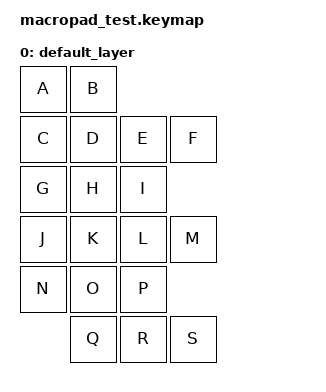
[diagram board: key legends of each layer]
#include <behaviors.dtsi>
#include <dt-bindings/zmk/keys.h>

// Each key sends a distinct letter so you can verify every position works.
// Layout (left-to-right, top-to-bottom matches physical layout):
//
//   [A] [B]
//   [C] [D] [E] [F]
//   [G] [H] [I]
//   [J] [K] [L] [M]
//   [N] [O] [P]
//       [Q] [R] [S]

/ {
    keymap {
        compatible = "zmk,keymap";

        default_layer {
            bindings = <
                &kp A   &kp B
                &kp C   &kp D   &kp E   &kp F
                &kp G   &kp H   &kp I
                &kp J   &kp K   &kp L   &kp M
                &kp N   &kp O   &kp P
                        &kp Q   &kp R   &kp S
            >;
        };
    };
};
